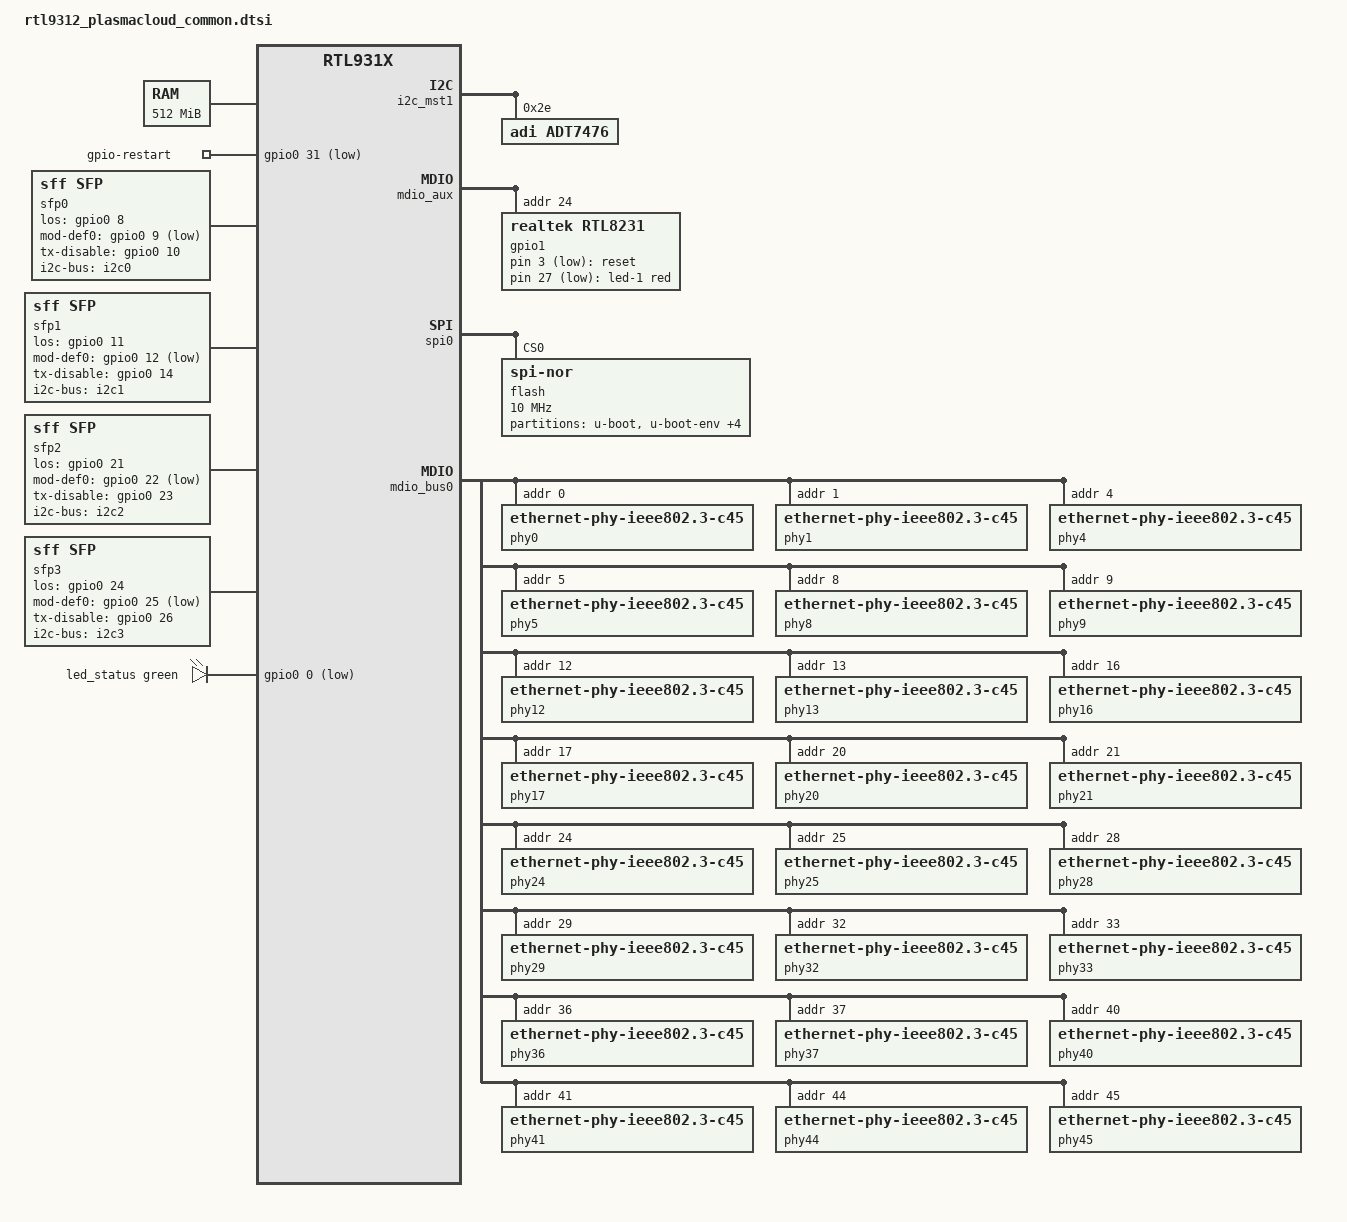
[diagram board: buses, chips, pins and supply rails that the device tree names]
// SPDX-License-Identifier: GPL-2.0-or-later

#include "rtl931x.dtsi"

#include <dt-bindings/input/input.h>
#include <dt-bindings/gpio/gpio.h>
#include <dt-bindings/leds/common.h>

/ {
	chosen {
		/* get active mtdparts from u-boot */
		/delete-property/ bootargs;
	};

	aliases {
		led-boot = &led_status;
		led-running = &led_status;
		led-failsafe = &led_status;
		led-upgrade = &led_status;
		label-mac-device = &ethernet0;
	};

	memory@0 {
		reg = <0x00000000 0x10000000>, /* low mem 256 MiB */
		      <0x90000000 0x10000000>; /* high mem 256 MiB */
	};

	gpio-restart {
		compatible = "gpio-restart";
		gpios = <&gpio0 31 GPIO_ACTIVE_LOW>;
	};

	keys {
		compatible = "gpio-keys-polled";
		poll-interval = <20>;

		mode {
			label = "reset";
			gpios = <&gpio1 3 GPIO_ACTIVE_LOW>;
			linux,code = <KEY_RESTART>;
		};
	};

	sfp0: sfp-lan25 {
		compatible = "sff,sfp";

		pinctrl-names = "default";
		pinctrl-0 = <&pinmux_disable_spi0>;

		i2c-bus = <&i2c0>;
		los-gpio = <&gpio0 8 GPIO_ACTIVE_HIGH>;
		mod-def0-gpio = <&gpio0 9 GPIO_ACTIVE_LOW>;
		tx-disable-gpio = <&gpio0 10 GPIO_ACTIVE_HIGH>;
	};

	sfp1: sfp-lan26 {
		compatible = "sff,sfp";
		pinctrl-names = "default";

		pinctrl-0 = <&pinmux_disable_spi0_cs0>,
			    <&pinmux_disable_spi0_cs1>;
		i2c-bus = <&i2c1>;

		los-gpio = <&gpio0 11 GPIO_ACTIVE_HIGH>;
		mod-def0-gpio = <&gpio0 12 GPIO_ACTIVE_LOW>;
		tx-disable-gpio = <&gpio0 14 GPIO_ACTIVE_HIGH>;
	};

	sfp2: sfp-lan27 {
		compatible = "sff,sfp";
		i2c-bus = <&i2c2>;
		los-gpio = <&gpio0 21 GPIO_ACTIVE_HIGH>;
		mod-def0-gpio = <&gpio0 22 GPIO_ACTIVE_LOW>;
		tx-disable-gpio = <&gpio0 23 GPIO_ACTIVE_HIGH>;
	};

	sfp3: sfp-lan28 {
		compatible = "sff,sfp";
		i2c-bus = <&i2c3>;
		los-gpio = <&gpio0 24 GPIO_ACTIVE_HIGH>;
		mod-def0-gpio = <&gpio0 25 GPIO_ACTIVE_LOW>;
		tx-disable-gpio = <&gpio0 26 GPIO_ACTIVE_HIGH>;
	};

	leds {
		compatible = "gpio-leds";

		pinctrl-names = "default";
		pinctrl-0 = <&pinmux_disable_sys_led>;

		led_status: led-0 {
			color = <LED_COLOR_ID_GREEN>;
			function = LED_FUNCTION_STATUS;
			gpios = <&gpio0 0 GPIO_ACTIVE_LOW>;
		};

		led-1 {
			color = <LED_COLOR_ID_RED>;
			function = LED_FUNCTION_ALARM;
			gpios = <&gpio1 27 GPIO_ACTIVE_LOW>;
		};
	};

	led_set@0 {
		compatible = "realtek,rtl9300-leds";
		active-low;
		led_set0 = <(RTL93XX_LED_SET_2P5G | RTL93XX_LED_SET_LINK |
			     RTL93XX_LED_SET_ACT)
			    (RTL93XX_LED_SET_1G | RTL93XX_LED_SET_100M |
			     RTL93XX_LED_SET_10M | RTL93XX_LED_SET_LINK |
			     RTL93XX_LED_SET_ACT)>;
		led_set1 = <(RTL93XX_LED_SET_1G | RTL93XX_LED_SET_LINK |
			     RTL93XX_LED_SET_ACT)
			    (RTL93XX_LED_SET_10G | RTL93XX_LED_SET_LINK |
			     RTL93XX_LED_SET_ACT)>;
	};
};

&i2c_mst1 {
	status = "okay";

	/* i2c of the SFP+ cage on port 24 */
	i2c0: i2c@0 {
		reg = <0>;
	};

	/* i2c of the SFP+ cage on port 25 */
	i2c1: i2c@1 {
		reg = <1>;
	};

	/* i2c of the SFP+ cage on port 26 */
	i2c2: i2c@2 {
		reg = <2>;
	};

	/* i2c of the SFP+ cage on port 27 */
	i2c3: i2c@3 {
		reg = <3>;
	};

	/* i2c of adt7476 hwmonitor */
	i2c@4 {
		reg = <4>;

		adt7476@2e {
			compatible = "adi,adt7476";
			reg = <0x2e>;
		};
	};
};

&mdio_aux {
	status = "okay";

	gpio1: expander@24 {
		compatible = "realtek,rtl8231";
		reg = <24>;

		gpio-controller;
		#gpio-cells = <2>;
		gpio-ranges = <&gpio1 0 0 37>;

		led-controller {
			compatible = "realtek,rtl8231-leds";
			status = "disabled";
		};
	};
};

&spi0 {
	status = "okay";

	flash@0 {
		compatible = "jedec,spi-nor";
		reg = <0>;
		spi-max-frequency = <10000000>;

		partitions {
			compatible = "fixed-partitions";
			#address-cells = <1>;
			#size-cells = <1>;

			partition@0 {
				label = "u-boot";
				reg = <0x0 0xc0000>;
				read-only;
			};

			partition@c0000 {
				label = "u-boot-env";
				reg = <0xc0000 0x10000>;

				nvmem-layout {
					compatible = "u-boot,env";

					macaddr_ubootenv_ethaddr: ethaddr {
						#nvmem-cell-cells = <1>;
					};
				};
			};

			partition@d0000 {
				label = "u-boot-env2";
				reg = <0xd0000 0x10000>;
			};

			partition@e0000 {
				label = "reserved";
				reg = <0xe0000 0x500000>;
			};

			partition@5e0000 {
				label = "firmware1";
				reg = <0x5e0000 0xd10000>;
				compatible = "openwrt,uimage", "denx,uimage";
				openwrt,ih-magic = <0x93100000>;
			};

			partition@12f0000 {
				label = "firmware2";
				reg = <0x12f0000 0xd10000>;
				compatible = "openwrt,uimage", "denx,uimage";
				openwrt,ih-magic = <0x93100000>;
			};
		};
	};
};

&ethernet0 {
	nvmem-cells = <&macaddr_ubootenv_ethaddr 0>;
	nvmem-cell-names = "mac-address";
};

&mdio_ctrl {
	pinctrl-names = "default";
	pinctrl-0 = <&pinmux_enable_mdc_mdio_0>,
		    <&pinmux_enable_mdc_mdio_1>;
};

&mdio_bus0 {
	/* External RTL8224 PHY */
	phy0: ethernet-phy@0 {
		reg = <0>;
		compatible = "ethernet-phy-ieee802.3-c45";
		rtl9300,smi-address = <0 0>;
	};

	phy1: ethernet-phy@1 {
		reg = <1>;
		compatible = "ethernet-phy-ieee802.3-c45";
		rtl9300,smi-address = <0 1>;
	};

	phy4: ethernet-phy@4 {
		reg = <4>;
		compatible = "ethernet-phy-ieee802.3-c45";
		rtl9300,smi-address = <0 2>;
	};

	phy5: ethernet-phy@5 {
		reg = <5>;
		compatible = "ethernet-phy-ieee802.3-c45";
		rtl9300,smi-address = <0 3>;
	};

	phy8: ethernet-phy@8 {
		reg = <8>;
		compatible = "ethernet-phy-ieee802.3-c45";
		rtl9300,smi-address = <0 4>;
	};

	phy9: ethernet-phy@9 {
		reg = <9>;
		compatible = "ethernet-phy-ieee802.3-c45";
		rtl9300,smi-address = <0 5>;
	};

	phy12: ethernet-phy@12 {
		reg = <12>;
		compatible = "ethernet-phy-ieee802.3-c45";
		rtl9300,smi-address = <0 6>;
	};

	phy13: ethernet-phy@13 {
		reg = <13>;
		compatible = "ethernet-phy-ieee802.3-c45";
		rtl9300,smi-address = <0 7>;
	};

	phy16: ethernet-phy@16 {
		reg = <16>;
		compatible = "ethernet-phy-ieee802.3-c45";
		rtl9300,smi-address = <0 8>;
	};

	phy17: ethernet-phy@17 {
		reg = <17>;
		compatible = "ethernet-phy-ieee802.3-c45";
		rtl9300,smi-address = <0 9>;
	};

	phy20: ethernet-phy@20 {
		reg = <20>;
		compatible = "ethernet-phy-ieee802.3-c45";
		rtl9300,smi-address = <0 10>;
	};

	phy21: ethernet-phy@21 {
		reg = <21>;
		compatible = "ethernet-phy-ieee802.3-c45";
		rtl9300,smi-address = <0 11>;
	};

	phy24: ethernet-phy@24 {
		reg = <24>;
		compatible = "ethernet-phy-ieee802.3-c45";
		rtl9300,smi-address = <1 12>;
	};

	phy25: ethernet-phy@25 {
		reg = <25>;
		compatible = "ethernet-phy-ieee802.3-c45";
		rtl9300,smi-address = <1 13>;
	};

	phy28: ethernet-phy@28 {
		reg = <28>;
		compatible = "ethernet-phy-ieee802.3-c45";
		rtl9300,smi-address = <1 14>;
	};

	phy29: ethernet-phy@29 {
		reg = <29>;
		compatible = "ethernet-phy-ieee802.3-c45";
		rtl9300,smi-address = <1 15>;
	};

	phy32: ethernet-phy@32 {
		reg = <32>;
		compatible = "ethernet-phy-ieee802.3-c45";
		rtl9300,smi-address = <1 16>;
	};

	phy33: ethernet-phy@33 {
		reg = <33>;
		compatible = "ethernet-phy-ieee802.3-c45";
		rtl9300,smi-address = <1 17>;
	};

	phy36: ethernet-phy@36 {
		reg = <36>;
		compatible = "ethernet-phy-ieee802.3-c45";
		rtl9300,smi-address = <1 18>;
	};

	phy37: ethernet-phy@37 {
		reg = <37>;
		compatible = "ethernet-phy-ieee802.3-c45";
		rtl9300,smi-address = <1 19>;
	};

	phy40: ethernet-phy@40 {
		reg = <40>;
		compatible = "ethernet-phy-ieee802.3-c45";
		rtl9300,smi-address = <1 20>;
	};

	phy41: ethernet-phy@41 {
		reg = <41>;
		compatible = "ethernet-phy-ieee802.3-c45";
		rtl9300,smi-address = <1 21>;
	};

	phy44: ethernet-phy@44 {
		reg = <44>;
		compatible = "ethernet-phy-ieee802.3-c45";
		rtl9300,smi-address = <1 22>;
	};

	phy45: ethernet-phy@45 {
		reg = <45>;
		compatible = "ethernet-phy-ieee802.3-c45";
		rtl9300,smi-address = <1 23>;
	};

	/* fiber */
	INTERNAL_PHY(48)
	INTERNAL_PHY(50)
	INTERNAL_PHY(52)
	INTERNAL_PHY(53)
};

&switch0 {
	ports {
		#address-cells = <1>;
		#size-cells = <0>;

		/* copper ethernet */
		SWITCH_PORT_SDS(0, 1, 2, 10g-qxgmii)
		SWITCH_PORT_SDS(1, 2, 2, 10g-qxgmii)
		SWITCH_PORT_SDS(4, 3, 2, 10g-qxgmii)
		SWITCH_PORT_SDS(5, 4, 2, 10g-qxgmii)
		SWITCH_PORT_SDS(8, 5, 3, 10g-qxgmii)
		SWITCH_PORT_SDS(9, 6, 3, 10g-qxgmii)
		SWITCH_PORT_SDS(12, 7, 3, 10g-qxgmii)
		SWITCH_PORT_SDS(13, 8, 3, 10g-qxgmii)
		SWITCH_PORT_SDS(16, 9, 4, 10g-qxgmii)
		SWITCH_PORT_SDS(17, 10, 4, 10g-qxgmii)
		SWITCH_PORT_SDS(20, 11, 4, 10g-qxgmii)
		SWITCH_PORT_SDS(21, 12, 4, 10g-qxgmii)
		SWITCH_PORT_SDS(24, 13, 5, 10g-qxgmii)
		SWITCH_PORT_SDS(25, 14, 5, 10g-qxgmii)
		SWITCH_PORT_SDS(28, 15, 5, 10g-qxgmii)
		SWITCH_PORT_SDS(29, 16, 5, 10g-qxgmii)
		SWITCH_PORT_SDS(32, 17, 6, 10g-qxgmii)
		SWITCH_PORT_SDS(33, 18, 6, 10g-qxgmii)
		SWITCH_PORT_SDS(36, 19, 6, 10g-qxgmii)
		SWITCH_PORT_SDS(37, 20, 6, 10g-qxgmii)
		SWITCH_PORT_SDS(40, 21, 7, 10g-qxgmii)
		SWITCH_PORT_SDS(41, 22, 7, 10g-qxgmii)
		SWITCH_PORT_SDS(44, 23, 7, 10g-qxgmii)
		SWITCH_PORT_SDS(45, 24, 7, 10g-qxgmii)

		port@48 {
			reg = <48>;
			label = "lan25";
			pcs-handle = <&serdes8>;
			phy-handle = <&phy48>;
			phy-mode = "1000base-x";
			sfp = <&sfp0>;
			led-set = <1>;
			managed = "in-band-status";

			nvmem-cells = <&macaddr_ubootenv_ethaddr 25>;
			nvmem-cell-names = "mac-address";
		};

		port@50 {
			reg = <50>;
			label = "lan26";
			pcs-handle = <&serdes9>;
			phy-handle = <&phy50>;
			phy-mode = "1000base-x";
			sfp = <&sfp1>;
			led-set = <1>;
			managed = "in-band-status";

			nvmem-cells = <&macaddr_ubootenv_ethaddr 26>;
			nvmem-cell-names = "mac-address";
		};

		port@52 {
			reg = <52>;
			label = "lan27";
			pcs-handle = <&serdes10>;
			phy-handle = <&phy52>;
			phy-mode = "1000base-x";
			sfp = <&sfp2>;
			led-set = <1>;
			managed = "in-band-status";

			nvmem-cells = <&macaddr_ubootenv_ethaddr 27>;
			nvmem-cell-names = "mac-address";
		};

		port@53 {
			reg = <53>;
			label = "lan28";
			pcs-handle = <&serdes11>;
			phy-handle = <&phy53>;
			phy-mode = "1000base-x";
			sfp = <&sfp3>;
			led-set = <1>;
			managed = "in-band-status";

			nvmem-cells = <&macaddr_ubootenv_ethaddr 28>;
			nvmem-cell-names = "mac-address";
		};

		/* cpu */
		port@56 {
			ethernet = <&ethernet0>;
			reg = <56>;
			phy-mode = "internal";
			fixed-link {
				speed = <1000>;
				full-duplex;
			};
		};
	};
};

&port0 {
	nvmem-cells = <&macaddr_ubootenv_ethaddr 1>;
	nvmem-cell-names = "mac-address";
};

&port1 {
	nvmem-cells = <&macaddr_ubootenv_ethaddr 2>;
	nvmem-cell-names = "mac-address";
};

&port4 {
	nvmem-cells = <&macaddr_ubootenv_ethaddr 3>;
	nvmem-cell-names = "mac-address";
};

&port5 {
	nvmem-cells = <&macaddr_ubootenv_ethaddr 4>;
	nvmem-cell-names = "mac-address";
};

&port8 {
	nvmem-cells = <&macaddr_ubootenv_ethaddr 5>;
	nvmem-cell-names = "mac-address";
};

&port9 {
	nvmem-cells = <&macaddr_ubootenv_ethaddr 6>;
	nvmem-cell-names = "mac-address";
};

&port12 {
	nvmem-cells = <&macaddr_ubootenv_ethaddr 7>;
	nvmem-cell-names = "mac-address";
};

&port13 {
	nvmem-cells = <&macaddr_ubootenv_ethaddr 8>;
	nvmem-cell-names = "mac-address";
};

&port16 {
	nvmem-cells = <&macaddr_ubootenv_ethaddr 9>;
	nvmem-cell-names = "mac-address";
};

&port17 {
	nvmem-cells = <&macaddr_ubootenv_ethaddr 10>;
	nvmem-cell-names = "mac-address";
};

&port20 {
	nvmem-cells = <&macaddr_ubootenv_ethaddr 11>;
	nvmem-cell-names = "mac-address";
};

&port21 {
	nvmem-cells = <&macaddr_ubootenv_ethaddr 12>;
	nvmem-cell-names = "mac-address";
};

&port24 {
	nvmem-cells = <&macaddr_ubootenv_ethaddr 13>;
	nvmem-cell-names = "mac-address";
};

&port25 {
	nvmem-cells = <&macaddr_ubootenv_ethaddr 14>;
	nvmem-cell-names = "mac-address";
};

&port28 {
	nvmem-cells = <&macaddr_ubootenv_ethaddr 15>;
	nvmem-cell-names = "mac-address";
};

&port29 {
	nvmem-cells = <&macaddr_ubootenv_ethaddr 16>;
	nvmem-cell-names = "mac-address";
};

&port32 {
	nvmem-cells = <&macaddr_ubootenv_ethaddr 17>;
	nvmem-cell-names = "mac-address";
};

&port33 {
	nvmem-cells = <&macaddr_ubootenv_ethaddr 18>;
	nvmem-cell-names = "mac-address";
};

&port36 {
	nvmem-cells = <&macaddr_ubootenv_ethaddr 19>;
	nvmem-cell-names = "mac-address";
};

&port37 {
	nvmem-cells = <&macaddr_ubootenv_ethaddr 20>;
	nvmem-cell-names = "mac-address";
};

&port40 {
	nvmem-cells = <&macaddr_ubootenv_ethaddr 21>;
	nvmem-cell-names = "mac-address";
};

&port41 {
	nvmem-cells = <&macaddr_ubootenv_ethaddr 22>;
	nvmem-cell-names = "mac-address";
};

&port44 {
	nvmem-cells = <&macaddr_ubootenv_ethaddr 23>;
	nvmem-cell-names = "mac-address";
};

&port45 {
	nvmem-cells = <&macaddr_ubootenv_ethaddr 24>;
	nvmem-cell-names = "mac-address";
};
